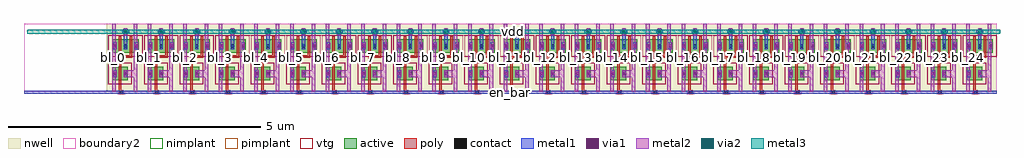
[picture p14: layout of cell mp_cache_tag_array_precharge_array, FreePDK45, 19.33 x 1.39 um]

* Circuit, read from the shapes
.subckt mp_cache_tag_array_precharge_array bl_0 bl_1 bl_10 bl_11 bl_12 bl_13 bl_14 bl_15 bl_16 bl_17 bl_18 bl_19 bl_2 bl_20 bl_21 bl_22 bl_23 bl_24 bl_3 bl_4 bl_5 bl_6 bl_7 bl_8 bl_9 br_0 br_1 br_10 br_11 br_12 br_13 br_14 br_15 br_16 br_17 br_18 br_19 br_2 br_20 br_21 br_22 br_23 br_24 br_3 br_4 br_5 br_6 br_7 br_8 br_9 en_bar vdd
M1 br_0 en_bar bl_0 vdd pfet w=0.27u l=0.05u
M2 vdd en_bar bl_0 vdd pfet w=0.27u l=0.05u
M3 br_0 en_bar vdd vdd pfet w=0.27u l=0.05u
M4 br_1 en_bar bl_1 vdd pfet w=0.27u l=0.05u
M5 vdd en_bar bl_1 vdd pfet w=0.27u l=0.05u
M6 br_1 en_bar vdd vdd pfet w=0.27u l=0.05u
M7 br_2 en_bar bl_2 vdd pfet w=0.27u l=0.05u
M8 vdd en_bar bl_2 vdd pfet w=0.27u l=0.05u
M9 br_2 en_bar vdd vdd pfet w=0.27u l=0.05u
M10 br_3 en_bar bl_3 vdd pfet w=0.27u l=0.05u
M11 vdd en_bar bl_3 vdd pfet w=0.27u l=0.05u
M12 br_3 en_bar vdd vdd pfet w=0.27u l=0.05u
M13 br_4 en_bar bl_4 vdd pfet w=0.27u l=0.05u
M14 vdd en_bar bl_4 vdd pfet w=0.27u l=0.05u
M15 br_4 en_bar vdd vdd pfet w=0.27u l=0.05u
M16 br_5 en_bar bl_5 vdd pfet w=0.27u l=0.05u
M17 vdd en_bar bl_5 vdd pfet w=0.27u l=0.05u
M18 br_5 en_bar vdd vdd pfet w=0.27u l=0.05u
M19 br_6 en_bar bl_6 vdd pfet w=0.27u l=0.05u
M20 vdd en_bar bl_6 vdd pfet w=0.27u l=0.05u
M21 br_6 en_bar vdd vdd pfet w=0.27u l=0.05u
M22 br_7 en_bar bl_7 vdd pfet w=0.27u l=0.05u
M23 vdd en_bar bl_7 vdd pfet w=0.27u l=0.05u
M24 br_7 en_bar vdd vdd pfet w=0.27u l=0.05u
M25 br_8 en_bar bl_8 vdd pfet w=0.27u l=0.05u
M26 vdd en_bar bl_8 vdd pfet w=0.27u l=0.05u
M27 br_8 en_bar vdd vdd pfet w=0.27u l=0.05u
M28 br_9 en_bar bl_9 vdd pfet w=0.27u l=0.05u
M29 vdd en_bar bl_9 vdd pfet w=0.27u l=0.05u
M30 br_9 en_bar vdd vdd pfet w=0.27u l=0.05u
M31 br_10 en_bar bl_10 vdd pfet w=0.27u l=0.05u
M32 vdd en_bar bl_10 vdd pfet w=0.27u l=0.05u
M33 br_10 en_bar vdd vdd pfet w=0.27u l=0.05u
M34 br_11 en_bar bl_11 vdd pfet w=0.27u l=0.05u
M35 vdd en_bar bl_11 vdd pfet w=0.27u l=0.05u
M36 br_11 en_bar vdd vdd pfet w=0.27u l=0.05u
M37 br_12 en_bar bl_12 vdd pfet w=0.27u l=0.05u
M38 vdd en_bar bl_12 vdd pfet w=0.27u l=0.05u
M39 br_12 en_bar vdd vdd pfet w=0.27u l=0.05u
M40 br_13 en_bar bl_13 vdd pfet w=0.27u l=0.05u
M41 vdd en_bar bl_13 vdd pfet w=0.27u l=0.05u
M42 br_13 en_bar vdd vdd pfet w=0.27u l=0.05u
M43 br_14 en_bar bl_14 vdd pfet w=0.27u l=0.05u
M44 vdd en_bar bl_14 vdd pfet w=0.27u l=0.05u
M45 br_14 en_bar vdd vdd pfet w=0.27u l=0.05u
M46 br_15 en_bar bl_15 vdd pfet w=0.27u l=0.05u
M47 vdd en_bar bl_15 vdd pfet w=0.27u l=0.05u
M48 br_15 en_bar vdd vdd pfet w=0.27u l=0.05u
M49 br_16 en_bar bl_16 vdd pfet w=0.27u l=0.05u
M50 vdd en_bar bl_16 vdd pfet w=0.27u l=0.05u
M51 br_16 en_bar vdd vdd pfet w=0.27u l=0.05u
M52 br_17 en_bar bl_17 vdd pfet w=0.27u l=0.05u
M53 vdd en_bar bl_17 vdd pfet w=0.27u l=0.05u
M54 br_17 en_bar vdd vdd pfet w=0.27u l=0.05u
M55 br_18 en_bar bl_18 vdd pfet w=0.27u l=0.05u
M56 vdd en_bar bl_18 vdd pfet w=0.27u l=0.05u
M57 br_18 en_bar vdd vdd pfet w=0.27u l=0.05u
M58 br_19 en_bar bl_19 vdd pfet w=0.27u l=0.05u
M59 vdd en_bar bl_19 vdd pfet w=0.27u l=0.05u
M60 br_19 en_bar vdd vdd pfet w=0.27u l=0.05u
M61 br_20 en_bar bl_20 vdd pfet w=0.27u l=0.05u
M62 vdd en_bar bl_20 vdd pfet w=0.27u l=0.05u
M63 br_20 en_bar vdd vdd pfet w=0.27u l=0.05u
M64 br_21 en_bar bl_21 vdd pfet w=0.27u l=0.05u
M65 vdd en_bar bl_21 vdd pfet w=0.27u l=0.05u
M66 br_21 en_bar vdd vdd pfet w=0.27u l=0.05u
M67 br_22 en_bar bl_22 vdd pfet w=0.27u l=0.05u
M68 vdd en_bar bl_22 vdd pfet w=0.27u l=0.05u
M69 br_22 en_bar vdd vdd pfet w=0.27u l=0.05u
M70 br_23 en_bar bl_23 vdd pfet w=0.27u l=0.05u
M71 vdd en_bar bl_23 vdd pfet w=0.27u l=0.05u
M72 br_23 en_bar vdd vdd pfet w=0.27u l=0.05u
M73 br_24 en_bar bl_24 vdd pfet w=0.27u l=0.05u
M74 vdd en_bar bl_24 vdd pfet w=0.27u l=0.05u
M75 br_24 en_bar vdd vdd pfet w=0.27u l=0.05u
.ends

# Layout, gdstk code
import gdstk
lib = gdstk.Library(unit=1e-6, precision=5e-10)
def R(c, l, rs):  # rectangles x0, y0, x1, y1
    for r in rs: c.add(gdstk.rectangle(r[:2], r[2:], *l))
active = (1, 0)
nwell = (3, 0)
nimplant = (4, 0)
pimplant = (5, 0)
vtg = (6, 0)
poly = (9, 0)
contact = (10, 0)
metal1 = (11, 0)
via1 = (12, 0)
metal2 = (13, 0)
via2 = (14, 0)
metal3 = (15, 0)
boundary2 = (239, 0)

mp_cache_tag_array_conta = lib.new_cell('mp_cache_tag_array_contact_11')
R(mp_cache_tag_array_conta, active, [(0,0.0225,0.09,0.1125)])
R(mp_cache_tag_array_conta, nwell, [(-0.055,-0.0325,0.145,0.1675)])
R(mp_cache_tag_array_conta, pimplant, [(0,0.0225,0.09,0.1125)])
R(mp_cache_tag_array_conta, contact, [(0.0125,0.035,0.0775,0.1)])
R(mp_cache_tag_array_conta, metal1, [(0.0125,0,0.0775,0.135)])
R(mp_cache_tag_array_conta, boundary2, [(-0.055,-0.0325,0.145,0.1675)])

mp_cache_tag_array_pmos_ = lib.new_cell('mp_cache_tag_array_pmos_m1_w0_270_sm1_dm1')
R(mp_cache_tag_array_pmos_, active, [(0,0,0.305,0.27)])
R(mp_cache_tag_array_pmos_, nwell, [(-0.08,-0.08,0.385,0.35)])
R(mp_cache_tag_array_pmos_, pimplant, [(0,0,0.305,0.27)])
R(mp_cache_tag_array_pmos_, vtg, [(-0.08,-0.08,0.385,0.35)])
R(mp_cache_tag_array_pmos_, poly, [(0.1275,-0.055,0.1775,0.325), (0.1275,-0.055,0.1775,0.325)])
R(mp_cache_tag_array_pmos_, metal1, [(0.0125,0.0675,0.0775,0.2025), (0.2275,0.0675,0.2925,0.2025)])
R(mp_cache_tag_array_pmos_, boundary2, [(-0.08,-0.08,0.385,0.35)])
mp_cache_tag_array_pmos_.add(gdstk.Reference(mp_cache_tag_array_conta, (0,0.0675)))
mp_cache_tag_array_pmos_.add(gdstk.Reference(mp_cache_tag_array_conta, (0.215,0.0675)))
mp_cache_tag_array_pmos_.add(gdstk.Label('G', (0.1525,0.135), layer=9, texttype=0))
mp_cache_tag_array_pmos_.add(gdstk.Label('S', (0.045,0.135), layer=11, texttype=0))
mp_cache_tag_array_pmos_.add(gdstk.Label('D', (0.26,0.135), layer=11, texttype=0))

c_mp_cache_tag_array_conta = lib.new_cell('mp_cache_tag_array_contact_14')
R(c_mp_cache_tag_array_conta, poly, [(0.03,0,0.105,0.075)])
R(c_mp_cache_tag_array_conta, contact, [(0.035,0.005,0.1,0.07)])
R(c_mp_cache_tag_array_conta, metal1, [(0,0.005,0.135,0.07)])
R(c_mp_cache_tag_array_conta, boundary2, [(0,0,0.135,0.075)])

c_mp_cache_tag_array_conta_ = lib.new_cell('mp_cache_tag_array_contact_22')
R(c_mp_cache_tag_array_conta_, active, [(0.0225,0,0.1125,0.09)])
R(c_mp_cache_tag_array_conta_, nwell, [(-0.0325,-0.055,0.1675,0.145)])
R(c_mp_cache_tag_array_conta_, nimplant, [(0.0225,0,0.1125,0.09)])
R(c_mp_cache_tag_array_conta_, contact, [(0.035,0.0125,0.1,0.0775)])
R(c_mp_cache_tag_array_conta_, metal1, [(0,0.0125,0.135,0.0775)])
R(c_mp_cache_tag_array_conta_, boundary2, [(-0.0325,-0.055,0.1675,0.145)])

c_mp_cache_tag_array_conta__ = lib.new_cell('mp_cache_tag_array_contact_17')
R(c_mp_cache_tag_array_conta__, metal1, [(0,0.035,0.135,0.1)])
R(c_mp_cache_tag_array_conta__, via1, [(0.035,0.035,0.1,0.1)])
R(c_mp_cache_tag_array_conta__, metal2, [(0.0325,0,0.1025,0.135)])
R(c_mp_cache_tag_array_conta__, boundary2, [(0,0,0.135,0.135)])

c_mp_cache_tag_array_conta___ = lib.new_cell('mp_cache_tag_array_contact_23')
R(c_mp_cache_tag_array_conta___, metal1, [(0.0025,0,0.0675,0.135)])
R(c_mp_cache_tag_array_conta___, via1, [(0.0025,0.035,0.0675,0.1)])
R(c_mp_cache_tag_array_conta___, metal2, [(0,0,0.07,0.135)])
R(c_mp_cache_tag_array_conta___, boundary2, [(0,0,0.07,0.135)])

mp_cache_tag_array_prech = lib.new_cell('mp_cache_tag_array_precharge_0')
R(mp_cache_tag_array_prech, nwell, [(0,0,0.705,1.34)])
R(mp_cache_tag_array_prech, poly, [(0.24,-0.0375,0.29,0.0125), (0.265,-0.0375,0.29,0.0125), (0.24,-0.0125,0.29,0.165), (0.24,0.545,0.29,0.715), (0.24,0.665,0.505,0.715)])
R(mp_cache_tag_array_prech, metal1, [(0,-0.045,0.705,0.02), (0.34,0.905,0.405,1.185), (0.34,1.1525,0.405,1.2175)])
R(mp_cache_tag_array_prech, metal2, [(0.105,0,0.175,1.34), (0.105,0,0.175,1.34), (0.53,0,0.6,1.34), (0.53,0,0.6,1.34), (0.14,0.2875,0.1575,0.4225), (0.3725,0.2875,0.565,0.4225), (0.14,0.8375,0.1575,0.9725), (0.565,0.8375,0.5875,0.9725)])
R(mp_cache_tag_array_prech, boundary2, [(0,0,0.705,1.34)])
mp_cache_tag_array_prech.add(gdstk.Reference(mp_cache_tag_array_pmos_, (0.1125,0.22)))
mp_cache_tag_array_prech.add(gdstk.Reference(mp_cache_tag_array_pmos_, (0.1125,0.77)))
mp_cache_tag_array_prech.add(gdstk.Reference(mp_cache_tag_array_pmos_, (0.3275,0.77)))
mp_cache_tag_array_prech.add(gdstk.Reference(c_mp_cache_tag_array_conta, (0.2225,-0.05)))
mp_cache_tag_array_prech.add(gdstk.Reference(c_mp_cache_tag_array_conta_, (0.305,1.14)))
mp_cache_tag_array_prech.add(gdstk.Reference(c_mp_cache_tag_array_conta__, (0.305,1.1175)))
mp_cache_tag_array_prech.add(gdstk.Reference(c_mp_cache_tag_array_conta___, (0.1225,0.2875)))
mp_cache_tag_array_prech.add(gdstk.Reference(c_mp_cache_tag_array_conta___, (0.3375,0.2875)))
mp_cache_tag_array_prech.add(gdstk.Reference(c_mp_cache_tag_array_conta___, (0.1225,0.8375)))
mp_cache_tag_array_prech.add(gdstk.Reference(c_mp_cache_tag_array_conta___, (0.5525,0.8375)))
mp_cache_tag_array_prech.add(gdstk.Label('en_bar', (0.3525,-0.0125), layer=11, texttype=0))
mp_cache_tag_array_prech.add(gdstk.Label('vdd', (0.3725,1.185), layer=11, texttype=0))
mp_cache_tag_array_prech.add(gdstk.Label('bl', (0.14,0.67), layer=13, texttype=0))
mp_cache_tag_array_prech.add(gdstk.Label('br', (0.565,0.67), layer=13, texttype=0))

c_mp_cache_tag_array_conta____ = lib.new_cell('mp_cache_tag_array_contact_18')
R(c_mp_cache_tag_array_conta____, metal2, [(0.0325,0,0.1025,0.135)])
R(c_mp_cache_tag_array_conta____, via2, [(0.035,0.035,0.1,0.1)])
R(c_mp_cache_tag_array_conta____, metal3, [(0,0.0325,0.135,0.1025)])
R(c_mp_cache_tag_array_conta____, boundary2, [(0,0,0.135,0.135)])

c_mp_cache_tag_array_prech = lib.new_cell('mp_cache_tag_array_precharge_array')
R(c_mp_cache_tag_array_prech, metal1, [(0,-0.045,19.265,0.02), (1.96,-0.045,2.025,0.02), (1.96,-0.045,2.025,0.02), (2.665,-0.045,2.73,0.02), (2.665,-0.045,2.73,0.02), (3.37,-0.045,3.435,0.02), (3.37,-0.045,3.435,0.02), (4.075,-0.045,4.14,0.02), (4.075,-0.045,4.14,0.02), (4.78,-0.045,4.845,0.02), (4.78,-0.045,4.845,0.02), (5.485,-0.045,5.55,0.02), (5.485,-0.045,5.55,0.02), (6.19,-0.045,6.255,0.02), (6.19,-0.045,6.255,0.02), (6.895,-0.045,6.96,0.02), (6.895,-0.045,6.96,0.02), (7.6,-0.045,7.665,0.02), (7.6,-0.045,7.665,0.02), (8.305,-0.045,8.37,0.02), (8.305,-0.045,8.37,0.02), (9.01,-0.045,9.075,0.02), (9.01,-0.045,9.075,0.02), (9.715,-0.045,9.78,0.02), (9.715,-0.045,9.78,0.02), (10.42,-0.045,10.485,0.02), (10.42,-0.045,10.485,0.02), (11.125,-0.045,11.19,0.02), (11.125,-0.045,11.19,0.02), (11.83,-0.045,11.895,0.02), (11.83,-0.045,11.895,0.02), (12.535,-0.045,12.6,0.02), (12.535,-0.045,12.6,0.02), (13.24,-0.045,13.305,0.02), (13.24,-0.045,13.305,0.02), (13.945,-0.045,14.01,0.02), (13.945,-0.045,14.01,0.02), (14.65,-0.045,14.715,0.02), (14.65,-0.045,14.715,0.02), (15.355,-0.045,15.42,0.02), (15.355,-0.045,15.42,0.02), (16.06,-0.045,16.125,0.02), (16.06,-0.045,16.125,0.02), (16.765,-0.045,16.83,0.02), (16.765,-0.045,16.83,0.02), (17.47,-0.045,17.535,0.02), (17.47,-0.045,17.535,0.02), (18.175,-0.045,18.24,0.02), (18.175,-0.045,18.24,0.02), (18.88,-0.045,18.945,0.02), (18.88,-0.045,18.945,0.02)])
R(c_mp_cache_tag_array_prech, metal2, [(1.745,0,1.815,1.34), (2.17,0,2.24,1.34), (2.45,0,2.52,1.34), (2.875,0,2.945,1.34), (3.155,0,3.225,1.34), (3.58,0,3.65,1.34), (3.86,0,3.93,1.34), (4.285,0,4.355,1.34), (4.565,0,4.635,1.34), (4.99,0,5.06,1.34), (5.27,0,5.34,1.34), (5.695,0,5.765,1.34), (5.975,0,6.045,1.34), (6.4,0,6.47,1.34), (6.68,0,6.75,1.34), (7.105,0,7.175,1.34), (7.385,0,7.455,1.34), (7.81,0,7.88,1.34), (8.09,0,8.16,1.34), (8.515,0,8.585,1.34), (8.795,0,8.865,1.34), (9.22,0,9.29,1.34), (9.5,0,9.57,1.34), (9.925,0,9.995,1.34), (10.205,0,10.275,1.34), (10.63,0,10.7,1.34), (10.91,0,10.98,1.34), (11.335,0,11.405,1.34), (11.615,0,11.685,1.34), (12.04,0,12.11,1.34), (12.32,0,12.39,1.34), (12.745,0,12.815,1.34), (13.025,0,13.095,1.34), (13.45,0,13.52,1.34), (13.73,0,13.8,1.34), (14.155,0,14.225,1.34), (14.435,0,14.505,1.34), (14.86,0,14.93,1.34), (15.14,0,15.21,1.34), (15.565,0,15.635,1.34), (15.845,0,15.915,1.34), (16.27,0,16.34,1.34), (16.55,0,16.62,1.34), (16.975,0,17.045,1.34), (17.255,0,17.325,1.34), (17.68,0,17.75,1.34), (17.96,0,18.03,1.34), (18.385,0,18.455,1.34), (18.665,0,18.735,1.34), (19.09,0,19.16,1.34)])
R(c_mp_cache_tag_array_prech, metal3, [(0.0675,1.15,19.3325,1.22)])
R(c_mp_cache_tag_array_prech, boundary2, [(0,0,19.265,1.34)])
c_mp_cache_tag_array_prech.add(gdstk.Reference(mp_cache_tag_array_prech, (1.64,0)))
c_mp_cache_tag_array_prech.add(gdstk.Reference(mp_cache_tag_array_prech, (2.345,0)))
c_mp_cache_tag_array_prech.add(gdstk.Reference(mp_cache_tag_array_prech, (3.05,0)))
c_mp_cache_tag_array_prech.add(gdstk.Reference(mp_cache_tag_array_prech, (3.755,0)))
c_mp_cache_tag_array_prech.add(gdstk.Reference(mp_cache_tag_array_prech, (4.46,0)))
c_mp_cache_tag_array_prech.add(gdstk.Reference(mp_cache_tag_array_prech, (5.165,0)))
c_mp_cache_tag_array_prech.add(gdstk.Reference(mp_cache_tag_array_prech, (5.87,0)))
c_mp_cache_tag_array_prech.add(gdstk.Reference(mp_cache_tag_array_prech, (6.575,0)))
c_mp_cache_tag_array_prech.add(gdstk.Reference(mp_cache_tag_array_prech, (7.28,0)))
c_mp_cache_tag_array_prech.add(gdstk.Reference(mp_cache_tag_array_prech, (7.985,0)))
c_mp_cache_tag_array_prech.add(gdstk.Reference(mp_cache_tag_array_prech, (8.69,0)))
c_mp_cache_tag_array_prech.add(gdstk.Reference(mp_cache_tag_array_prech, (9.395,0)))
c_mp_cache_tag_array_prech.add(gdstk.Reference(mp_cache_tag_array_prech, (10.1,0)))
c_mp_cache_tag_array_prech.add(gdstk.Reference(mp_cache_tag_array_prech, (10.805,0)))
c_mp_cache_tag_array_prech.add(gdstk.Reference(mp_cache_tag_array_prech, (11.51,0)))
c_mp_cache_tag_array_prech.add(gdstk.Reference(mp_cache_tag_array_prech, (12.215,0)))
c_mp_cache_tag_array_prech.add(gdstk.Reference(mp_cache_tag_array_prech, (12.92,0)))
c_mp_cache_tag_array_prech.add(gdstk.Reference(mp_cache_tag_array_prech, (13.625,0)))
c_mp_cache_tag_array_prech.add(gdstk.Reference(mp_cache_tag_array_prech, (14.33,0)))
c_mp_cache_tag_array_prech.add(gdstk.Reference(mp_cache_tag_array_prech, (15.035,0)))
c_mp_cache_tag_array_prech.add(gdstk.Reference(mp_cache_tag_array_prech, (15.74,0)))
c_mp_cache_tag_array_prech.add(gdstk.Reference(mp_cache_tag_array_prech, (16.445,0)))
c_mp_cache_tag_array_prech.add(gdstk.Reference(mp_cache_tag_array_prech, (17.15,0)))
c_mp_cache_tag_array_prech.add(gdstk.Reference(mp_cache_tag_array_prech, (17.855,0)))
c_mp_cache_tag_array_prech.add(gdstk.Reference(mp_cache_tag_array_prech, (18.56,0)))
c_mp_cache_tag_array_prech.add(gdstk.Reference(c_mp_cache_tag_array_conta__, (1.945,1.1175)))
c_mp_cache_tag_array_prech.add(gdstk.Reference(c_mp_cache_tag_array_conta____, (1.945,1.1175)))
c_mp_cache_tag_array_prech.add(gdstk.Reference(c_mp_cache_tag_array_conta__, (2.65,1.1175)))
c_mp_cache_tag_array_prech.add(gdstk.Reference(c_mp_cache_tag_array_conta____, (2.65,1.1175)))
c_mp_cache_tag_array_prech.add(gdstk.Reference(c_mp_cache_tag_array_conta__, (3.355,1.1175)))
c_mp_cache_tag_array_prech.add(gdstk.Reference(c_mp_cache_tag_array_conta____, (3.355,1.1175)))
c_mp_cache_tag_array_prech.add(gdstk.Reference(c_mp_cache_tag_array_conta__, (4.06,1.1175)))
c_mp_cache_tag_array_prech.add(gdstk.Reference(c_mp_cache_tag_array_conta____, (4.06,1.1175)))
c_mp_cache_tag_array_prech.add(gdstk.Reference(c_mp_cache_tag_array_conta__, (4.765,1.1175)))
c_mp_cache_tag_array_prech.add(gdstk.Reference(c_mp_cache_tag_array_conta____, (4.765,1.1175)))
c_mp_cache_tag_array_prech.add(gdstk.Reference(c_mp_cache_tag_array_conta__, (5.47,1.1175)))
c_mp_cache_tag_array_prech.add(gdstk.Reference(c_mp_cache_tag_array_conta____, (5.47,1.1175)))
c_mp_cache_tag_array_prech.add(gdstk.Reference(c_mp_cache_tag_array_conta__, (6.175,1.1175)))
c_mp_cache_tag_array_prech.add(gdstk.Reference(c_mp_cache_tag_array_conta____, (6.175,1.1175)))
c_mp_cache_tag_array_prech.add(gdstk.Reference(c_mp_cache_tag_array_conta__, (6.88,1.1175)))
c_mp_cache_tag_array_prech.add(gdstk.Reference(c_mp_cache_tag_array_conta____, (6.88,1.1175)))
c_mp_cache_tag_array_prech.add(gdstk.Reference(c_mp_cache_tag_array_conta__, (7.585,1.1175)))
c_mp_cache_tag_array_prech.add(gdstk.Reference(c_mp_cache_tag_array_conta____, (7.585,1.1175)))
c_mp_cache_tag_array_prech.add(gdstk.Reference(c_mp_cache_tag_array_conta__, (8.29,1.1175)))
c_mp_cache_tag_array_prech.add(gdstk.Reference(c_mp_cache_tag_array_conta____, (8.29,1.1175)))
c_mp_cache_tag_array_prech.add(gdstk.Reference(c_mp_cache_tag_array_conta__, (8.995,1.1175)))
c_mp_cache_tag_array_prech.add(gdstk.Reference(c_mp_cache_tag_array_conta____, (8.995,1.1175)))
c_mp_cache_tag_array_prech.add(gdstk.Reference(c_mp_cache_tag_array_conta__, (9.7,1.1175)))
c_mp_cache_tag_array_prech.add(gdstk.Reference(c_mp_cache_tag_array_conta____, (9.7,1.1175)))
c_mp_cache_tag_array_prech.add(gdstk.Reference(c_mp_cache_tag_array_conta__, (10.405,1.1175)))
c_mp_cache_tag_array_prech.add(gdstk.Reference(c_mp_cache_tag_array_conta____, (10.405,1.1175)))
c_mp_cache_tag_array_prech.add(gdstk.Reference(c_mp_cache_tag_array_conta__, (11.11,1.1175)))
c_mp_cache_tag_array_prech.add(gdstk.Reference(c_mp_cache_tag_array_conta____, (11.11,1.1175)))
c_mp_cache_tag_array_prech.add(gdstk.Reference(c_mp_cache_tag_array_conta__, (11.815,1.1175)))
c_mp_cache_tag_array_prech.add(gdstk.Reference(c_mp_cache_tag_array_conta____, (11.815,1.1175)))
c_mp_cache_tag_array_prech.add(gdstk.Reference(c_mp_cache_tag_array_conta__, (12.52,1.1175)))
c_mp_cache_tag_array_prech.add(gdstk.Reference(c_mp_cache_tag_array_conta____, (12.52,1.1175)))
c_mp_cache_tag_array_prech.add(gdstk.Reference(c_mp_cache_tag_array_conta__, (13.225,1.1175)))
c_mp_cache_tag_array_prech.add(gdstk.Reference(c_mp_cache_tag_array_conta____, (13.225,1.1175)))
c_mp_cache_tag_array_prech.add(gdstk.Reference(c_mp_cache_tag_array_conta__, (13.93,1.1175)))
c_mp_cache_tag_array_prech.add(gdstk.Reference(c_mp_cache_tag_array_conta____, (13.93,1.1175)))
c_mp_cache_tag_array_prech.add(gdstk.Reference(c_mp_cache_tag_array_conta__, (14.635,1.1175)))
c_mp_cache_tag_array_prech.add(gdstk.Reference(c_mp_cache_tag_array_conta____, (14.635,1.1175)))
c_mp_cache_tag_array_prech.add(gdstk.Reference(c_mp_cache_tag_array_conta__, (15.34,1.1175)))
c_mp_cache_tag_array_prech.add(gdstk.Reference(c_mp_cache_tag_array_conta____, (15.34,1.1175)))
c_mp_cache_tag_array_prech.add(gdstk.Reference(c_mp_cache_tag_array_conta__, (16.045,1.1175)))
c_mp_cache_tag_array_prech.add(gdstk.Reference(c_mp_cache_tag_array_conta____, (16.045,1.1175)))
c_mp_cache_tag_array_prech.add(gdstk.Reference(c_mp_cache_tag_array_conta__, (16.75,1.1175)))
c_mp_cache_tag_array_prech.add(gdstk.Reference(c_mp_cache_tag_array_conta____, (16.75,1.1175)))
c_mp_cache_tag_array_prech.add(gdstk.Reference(c_mp_cache_tag_array_conta__, (17.455,1.1175)))
c_mp_cache_tag_array_prech.add(gdstk.Reference(c_mp_cache_tag_array_conta____, (17.455,1.1175)))
c_mp_cache_tag_array_prech.add(gdstk.Reference(c_mp_cache_tag_array_conta__, (18.16,1.1175)))
c_mp_cache_tag_array_prech.add(gdstk.Reference(c_mp_cache_tag_array_conta____, (18.16,1.1175)))
c_mp_cache_tag_array_prech.add(gdstk.Reference(c_mp_cache_tag_array_conta__, (18.865,1.1175)))
c_mp_cache_tag_array_prech.add(gdstk.Reference(c_mp_cache_tag_array_conta____, (18.865,1.1175)))
c_mp_cache_tag_array_prech.add(gdstk.Label('en_bar', (9.6325,-0.0125), layer=11, texttype=0))
c_mp_cache_tag_array_prech.add(gdstk.Label('bl_0', (1.78,0.67), layer=13, texttype=0))
c_mp_cache_tag_array_prech.add(gdstk.Label('br_0', (2.205,0.67), layer=13, texttype=0))
c_mp_cache_tag_array_prech.add(gdstk.Label('bl_1', (2.485,0.67), layer=13, texttype=0))
c_mp_cache_tag_array_prech.add(gdstk.Label('br_1', (2.91,0.67), layer=13, texttype=0))
c_mp_cache_tag_array_prech.add(gdstk.Label('bl_2', (3.19,0.67), layer=13, texttype=0))
c_mp_cache_tag_array_prech.add(gdstk.Label('br_2', (3.615,0.67), layer=13, texttype=0))
c_mp_cache_tag_array_prech.add(gdstk.Label('bl_3', (3.895,0.67), layer=13, texttype=0))
c_mp_cache_tag_array_prech.add(gdstk.Label('br_3', (4.32,0.67), layer=13, texttype=0))
c_mp_cache_tag_array_prech.add(gdstk.Label('bl_4', (4.6,0.67), layer=13, texttype=0))
c_mp_cache_tag_array_prech.add(gdstk.Label('br_4', (5.025,0.67), layer=13, texttype=0))
c_mp_cache_tag_array_prech.add(gdstk.Label('bl_5', (5.305,0.67), layer=13, texttype=0))
c_mp_cache_tag_array_prech.add(gdstk.Label('br_5', (5.73,0.67), layer=13, texttype=0))
c_mp_cache_tag_array_prech.add(gdstk.Label('bl_6', (6.01,0.67), layer=13, texttype=0))
c_mp_cache_tag_array_prech.add(gdstk.Label('br_6', (6.435,0.67), layer=13, texttype=0))
c_mp_cache_tag_array_prech.add(gdstk.Label('bl_7', (6.715,0.67), layer=13, texttype=0))
c_mp_cache_tag_array_prech.add(gdstk.Label('br_7', (7.14,0.67), layer=13, texttype=0))
c_mp_cache_tag_array_prech.add(gdstk.Label('bl_8', (7.42,0.67), layer=13, texttype=0))
c_mp_cache_tag_array_prech.add(gdstk.Label('br_8', (7.845,0.67), layer=13, texttype=0))
c_mp_cache_tag_array_prech.add(gdstk.Label('bl_9', (8.125,0.67), layer=13, texttype=0))
c_mp_cache_tag_array_prech.add(gdstk.Label('br_9', (8.55,0.67), layer=13, texttype=0))
c_mp_cache_tag_array_prech.add(gdstk.Label('bl_10', (8.83,0.67), layer=13, texttype=0))
c_mp_cache_tag_array_prech.add(gdstk.Label('br_10', (9.255,0.67), layer=13, texttype=0))
c_mp_cache_tag_array_prech.add(gdstk.Label('bl_11', (9.535,0.67), layer=13, texttype=0))
c_mp_cache_tag_array_prech.add(gdstk.Label('br_11', (9.96,0.67), layer=13, texttype=0))
c_mp_cache_tag_array_prech.add(gdstk.Label('bl_12', (10.24,0.67), layer=13, texttype=0))
c_mp_cache_tag_array_prech.add(gdstk.Label('br_12', (10.665,0.67), layer=13, texttype=0))
c_mp_cache_tag_array_prech.add(gdstk.Label('bl_13', (10.945,0.67), layer=13, texttype=0))
c_mp_cache_tag_array_prech.add(gdstk.Label('br_13', (11.37,0.67), layer=13, texttype=0))
c_mp_cache_tag_array_prech.add(gdstk.Label('bl_14', (11.65,0.67), layer=13, texttype=0))
c_mp_cache_tag_array_prech.add(gdstk.Label('br_14', (12.075,0.67), layer=13, texttype=0))
c_mp_cache_tag_array_prech.add(gdstk.Label('bl_15', (12.355,0.67), layer=13, texttype=0))
c_mp_cache_tag_array_prech.add(gdstk.Label('br_15', (12.78,0.67), layer=13, texttype=0))
c_mp_cache_tag_array_prech.add(gdstk.Label('bl_16', (13.06,0.67), layer=13, texttype=0))
c_mp_cache_tag_array_prech.add(gdstk.Label('br_16', (13.485,0.67), layer=13, texttype=0))
c_mp_cache_tag_array_prech.add(gdstk.Label('bl_17', (13.765,0.67), layer=13, texttype=0))
c_mp_cache_tag_array_prech.add(gdstk.Label('br_17', (14.19,0.67), layer=13, texttype=0))
c_mp_cache_tag_array_prech.add(gdstk.Label('bl_18', (14.47,0.67), layer=13, texttype=0))
c_mp_cache_tag_array_prech.add(gdstk.Label('br_18', (14.895,0.67), layer=13, texttype=0))
c_mp_cache_tag_array_prech.add(gdstk.Label('bl_19', (15.175,0.67), layer=13, texttype=0))
c_mp_cache_tag_array_prech.add(gdstk.Label('br_19', (15.6,0.67), layer=13, texttype=0))
c_mp_cache_tag_array_prech.add(gdstk.Label('bl_20', (15.88,0.67), layer=13, texttype=0))
c_mp_cache_tag_array_prech.add(gdstk.Label('br_20', (16.305,0.67), layer=13, texttype=0))
c_mp_cache_tag_array_prech.add(gdstk.Label('bl_21', (16.585,0.67), layer=13, texttype=0))
c_mp_cache_tag_array_prech.add(gdstk.Label('br_21', (17.01,0.67), layer=13, texttype=0))
c_mp_cache_tag_array_prech.add(gdstk.Label('bl_22', (17.29,0.67), layer=13, texttype=0))
c_mp_cache_tag_array_prech.add(gdstk.Label('br_22', (17.715,0.67), layer=13, texttype=0))
c_mp_cache_tag_array_prech.add(gdstk.Label('bl_23', (17.995,0.67), layer=13, texttype=0))
c_mp_cache_tag_array_prech.add(gdstk.Label('br_23', (18.42,0.67), layer=13, texttype=0))
c_mp_cache_tag_array_prech.add(gdstk.Label('bl_24', (18.7,0.67), layer=13, texttype=0))
c_mp_cache_tag_array_prech.add(gdstk.Label('br_24', (19.125,0.67), layer=13, texttype=0))
c_mp_cache_tag_array_prech.add(gdstk.Label('vdd', (9.7,1.185), layer=15, texttype=0))

lib.write_gds('mp_cache_tag_array_precharge_array.gds')
